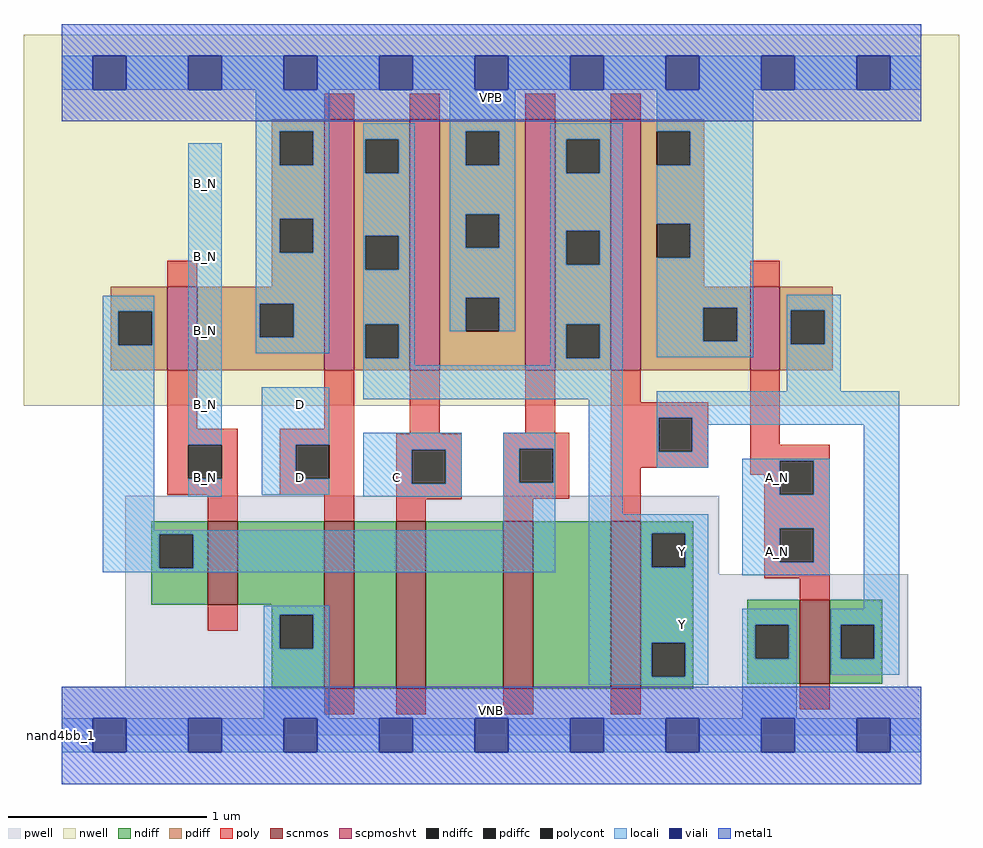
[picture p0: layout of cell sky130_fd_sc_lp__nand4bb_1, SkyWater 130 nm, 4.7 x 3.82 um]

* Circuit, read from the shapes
.subckt sky130_fd_sc_lp__nand4bb_1 A_N B_N C D VGND VNB VPB VPWR Y
XM1 VGND B_N n1 VNB sky130_fd_pr__nfet_01v8 w=0.42 l=0.15
XM2 n2 D VGND VNB sky130_fd_pr__nfet_01v8 w=0.84 l=0.15
XM3 n3 C n2 VNB sky130_fd_pr__nfet_01v8 w=0.84 l=0.15
XM4 n4 n1 n3 VNB sky130_fd_pr__nfet_01v8 w=0.84 l=0.15
XM5 Y n5 n4 VNB sky130_fd_pr__nfet_01v8 w=0.84 l=0.15
XM6 n5 A_N VGND VNB sky130_fd_pr__nfet_01v8 w=0.42 l=0.15
XM7 VPWR B_N n1 VPB sky130_fd_pr__pfet_01v8_hvt w=0.42 l=0.15
XM8 Y D VPWR VPB sky130_fd_pr__pfet_01v8_hvt w=1.26 l=0.15
XM9 VPWR C Y VPB sky130_fd_pr__pfet_01v8_hvt w=1.26 l=0.15
XM10 Y n1 VPWR VPB sky130_fd_pr__pfet_01v8_hvt w=1.26 l=0.15
XM11 VPWR n5 Y VPB sky130_fd_pr__pfet_01v8_hvt w=1.26 l=0.15
XM12 n5 A_N VPWR VPB sky130_fd_pr__pfet_01v8_hvt w=0.42 l=0.15
.ends

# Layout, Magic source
magic
tech sky130A
magscale 1 2
<< nwell >>
rect -38 331 902 704
<< pwell >>
rect 64 162 661 241
rect 64 49 851 162
rect 0 0 864 49
<< scnmos >>
rect 147 131 177 215
rect 264 47 294 215
rect 336 47 366 215
rect 444 47 474 215
rect 552 47 582 215
rect 742 52 772 136
<< scpmoshvt >>
rect 106 367 136 451
rect 264 367 294 619
rect 350 367 380 619
rect 466 367 496 619
rect 552 367 582 619
rect 692 367 722 451
<< ndiff >>
rect 90 202 147 215
rect 90 168 98 202
rect 132 168 147 202
rect 90 131 147 168
rect 177 131 264 215
rect 211 121 264 131
rect 211 87 219 121
rect 253 87 264 121
rect 211 47 264 87
rect 294 47 336 215
rect 366 47 444 215
rect 474 47 552 215
rect 582 203 635 215
rect 582 169 593 203
rect 627 169 635 203
rect 582 93 635 169
rect 582 59 593 93
rect 627 59 635 93
rect 582 47 635 59
rect 689 111 742 136
rect 689 77 697 111
rect 731 77 742 111
rect 689 52 742 77
rect 772 111 825 136
rect 772 77 783 111
rect 817 77 825 111
rect 772 52 825 77
<< pdiff >>
rect 211 607 264 619
rect 211 573 219 607
rect 253 573 264 607
rect 211 519 264 573
rect 211 485 219 519
rect 253 485 264 519
rect 211 451 264 485
rect 49 426 106 451
rect 49 392 57 426
rect 91 392 106 426
rect 49 367 106 392
rect 136 434 264 451
rect 136 400 199 434
rect 233 400 264 434
rect 136 367 264 400
rect 294 599 350 619
rect 294 565 305 599
rect 339 565 350 599
rect 294 502 350 565
rect 294 468 305 502
rect 339 468 350 502
rect 294 413 350 468
rect 294 379 305 413
rect 339 379 350 413
rect 294 367 350 379
rect 380 607 466 619
rect 380 573 406 607
rect 440 573 466 607
rect 380 524 466 573
rect 380 490 406 524
rect 440 490 466 524
rect 380 440 466 490
rect 380 406 406 440
rect 440 406 466 440
rect 380 367 466 406
rect 496 599 552 619
rect 496 565 507 599
rect 541 565 552 599
rect 496 507 552 565
rect 496 473 507 507
rect 541 473 552 507
rect 496 413 552 473
rect 496 379 507 413
rect 541 379 552 413
rect 496 367 552 379
rect 582 607 646 619
rect 582 573 598 607
rect 632 573 646 607
rect 582 514 646 573
rect 582 480 598 514
rect 632 480 646 514
rect 582 451 646 480
rect 582 430 692 451
rect 582 396 645 430
rect 679 396 692 430
rect 582 367 692 396
rect 722 427 775 451
rect 722 393 733 427
rect 767 393 775 427
rect 722 367 775 393
<< ndiffc >>
rect 98 168 132 202
rect 219 87 253 121
rect 593 169 627 203
rect 593 59 627 93
rect 697 77 731 111
rect 783 77 817 111
<< pdiffc >>
rect 219 573 253 607
rect 219 485 253 519
rect 57 392 91 426
rect 199 400 233 434
rect 305 565 339 599
rect 305 468 339 502
rect 305 379 339 413
rect 406 573 440 607
rect 406 490 440 524
rect 406 406 440 440
rect 507 565 541 599
rect 507 473 541 507
rect 507 379 541 413
rect 598 573 632 607
rect 598 480 632 514
rect 645 396 679 430
rect 733 393 767 427
<< poly >>
rect 264 619 294 645
rect 350 619 380 645
rect 466 619 496 645
rect 552 619 582 645
rect 106 451 136 477
rect 692 451 722 477
rect 106 308 136 367
rect 264 308 294 367
rect 106 292 177 308
rect 106 258 127 292
rect 161 258 177 292
rect 106 242 177 258
rect 219 292 294 308
rect 350 303 380 367
rect 466 304 496 367
rect 552 335 582 367
rect 552 319 650 335
rect 219 258 235 292
rect 269 258 294 292
rect 219 242 294 258
rect 147 215 177 242
rect 264 215 294 242
rect 336 287 402 303
rect 336 253 352 287
rect 386 253 402 287
rect 336 237 402 253
rect 444 288 510 304
rect 444 254 460 288
rect 494 254 510 288
rect 444 238 510 254
rect 552 285 600 319
rect 634 285 650 319
rect 552 269 650 285
rect 692 292 722 367
rect 692 276 772 292
rect 336 215 366 237
rect 444 215 474 238
rect 552 215 582 269
rect 692 262 722 276
rect 706 242 722 262
rect 756 242 772 276
rect 147 105 177 131
rect 706 208 772 242
rect 706 174 722 208
rect 756 174 772 208
rect 706 158 772 174
rect 742 136 772 158
rect 264 21 294 47
rect 336 21 366 47
rect 444 21 474 47
rect 552 21 582 47
rect 742 26 772 52
<< polycont >>
rect 127 258 161 292
rect 235 258 269 292
rect 352 253 386 287
rect 460 254 494 288
rect 600 285 634 319
rect 722 242 756 276
rect 722 174 756 208
<< locali >>
rect 0 649 31 683
rect 65 649 127 683
rect 161 649 223 683
rect 257 649 319 683
rect 353 649 415 683
rect 449 649 511 683
rect 545 649 607 683
rect 641 649 703 683
rect 737 649 799 683
rect 833 649 864 683
rect 195 607 269 649
rect 41 426 93 442
rect 41 392 57 426
rect 91 392 93 426
rect 41 206 93 392
rect 127 292 161 595
rect 195 573 219 607
rect 253 573 269 607
rect 195 519 269 573
rect 195 485 219 519
rect 253 485 269 519
rect 195 434 269 485
rect 195 400 199 434
rect 233 400 269 434
rect 195 384 269 400
rect 303 599 355 615
rect 303 565 305 599
rect 339 565 355 599
rect 303 502 355 565
rect 303 468 305 502
rect 339 468 355 502
rect 303 413 355 468
rect 303 379 305 413
rect 339 379 355 413
rect 390 607 456 649
rect 390 573 406 607
rect 440 573 456 607
rect 390 524 456 573
rect 390 490 406 524
rect 440 490 456 524
rect 390 440 456 490
rect 390 406 406 440
rect 440 406 456 440
rect 491 599 564 615
rect 491 565 507 599
rect 541 565 564 599
rect 491 507 564 565
rect 491 473 507 507
rect 541 473 564 507
rect 491 413 564 473
rect 303 372 355 379
rect 491 379 507 413
rect 541 379 564 413
rect 598 607 695 649
rect 632 573 695 607
rect 598 514 695 573
rect 632 480 695 514
rect 598 430 695 480
rect 598 396 645 430
rect 679 396 695 430
rect 598 380 695 396
rect 729 427 783 443
rect 729 393 733 427
rect 767 393 783 427
rect 491 372 564 379
rect 127 240 161 258
rect 201 292 269 350
rect 303 338 564 372
rect 729 346 783 393
rect 201 258 235 292
rect 201 242 269 258
rect 303 287 402 304
rect 303 253 352 287
rect 386 253 402 287
rect 303 240 402 253
rect 444 288 496 304
rect 444 254 460 288
rect 494 254 496 288
rect 444 206 496 254
rect 41 202 496 206
rect 41 168 98 202
rect 132 168 496 202
rect 41 164 496 168
rect 530 222 564 338
rect 598 319 842 346
rect 598 285 600 319
rect 634 312 842 319
rect 634 285 650 312
rect 598 269 650 285
rect 684 276 772 278
rect 684 242 722 276
rect 756 242 772 276
rect 530 203 650 222
rect 530 169 593 203
rect 627 169 650 203
rect 203 121 269 130
rect 203 87 219 121
rect 253 87 269 121
rect 203 17 269 87
rect 530 93 650 169
rect 684 208 772 242
rect 684 174 722 208
rect 756 174 772 208
rect 684 161 772 174
rect 806 127 842 312
rect 530 59 593 93
rect 627 59 650 93
rect 530 51 650 59
rect 684 111 739 127
rect 684 77 697 111
rect 731 77 739 111
rect 684 17 739 77
rect 773 111 842 127
rect 773 77 783 111
rect 817 77 842 111
rect 773 61 842 77
rect 0 -17 31 17
rect 65 -17 127 17
rect 161 -17 223 17
rect 257 -17 319 17
rect 353 -17 415 17
rect 449 -17 511 17
rect 545 -17 607 17
rect 641 -17 703 17
rect 737 -17 799 17
rect 833 -17 864 17
<< viali >>
rect 31 649 65 683
rect 127 649 161 683
rect 223 649 257 683
rect 319 649 353 683
rect 415 649 449 683
rect 511 649 545 683
rect 607 649 641 683
rect 703 649 737 683
rect 799 649 833 683
rect 31 -17 65 17
rect 127 -17 161 17
rect 223 -17 257 17
rect 319 -17 353 17
rect 415 -17 449 17
rect 511 -17 545 17
rect 607 -17 641 17
rect 703 -17 737 17
rect 799 -17 833 17
<< metal1 >>
rect 0 683 864 715
rect 0 649 31 683
rect 65 649 127 683
rect 161 649 223 683
rect 257 649 319 683
rect 353 649 415 683
rect 449 649 511 683
rect 545 649 607 683
rect 641 649 703 683
rect 737 649 799 683
rect 833 649 864 683
rect 0 617 864 649
rect 0 17 864 49
rect 0 -17 31 17
rect 65 -17 127 17
rect 161 -17 223 17
rect 257 -17 319 17
rect 353 -17 415 17
rect 449 -17 511 17
rect 545 -17 607 17
rect 641 -17 703 17
rect 737 -17 799 17
rect 833 -17 864 17
rect 0 -49 864 -17
<< labels >>
flabel pwell s 0 0 864 49 0 FreeSans 200 0 0 0 VNB
port 6 nsew ground bidirectional
flabel nwell s 0 617 864 666 0 FreeSans 200 0 0 0 VPB
port 7 nsew power bidirectional
rlabel comment s 0 0 0 0 4 nand4bb_1
flabel metal1 s 0 617 864 666 0 FreeSans 340 0 0 0 VPWR
port 8 nsew power bidirectional
flabel metal1 s 0 0 864 49 0 FreeSans 340 0 0 0 VGND
port 5 nsew ground bidirectional
flabel locali s 319 242 353 276 0 FreeSans 340 0 0 0 C
port 3 nsew signal input
flabel locali s 223 242 257 276 0 FreeSans 340 0 0 0 D
port 4 nsew signal input
flabel locali s 223 316 257 350 0 FreeSans 340 0 0 0 D
port 4 nsew signal input
flabel locali s 703 168 737 202 0 FreeSans 340 0 0 0 A_N
port 1 nsew signal input
flabel locali s 703 242 737 276 0 FreeSans 340 0 0 0 A_N
port 1 nsew signal input
flabel locali s 127 242 161 276 0 FreeSans 340 0 0 0 B_N
port 2 nsew signal input
flabel locali s 127 316 161 350 0 FreeSans 340 0 0 0 B_N
port 2 nsew signal input
flabel locali s 127 390 161 424 0 FreeSans 340 0 0 0 B_N
port 2 nsew signal input
flabel locali s 127 464 161 498 0 FreeSans 340 0 0 0 B_N
port 2 nsew signal input
flabel locali s 127 538 161 572 0 FreeSans 340 0 0 0 B_N
port 2 nsew signal input
flabel locali s 607 94 641 128 0 FreeSans 340 0 0 0 Y
port 9 nsew signal output
flabel locali s 607 168 641 202 0 FreeSans 340 0 0 0 Y
port 9 nsew signal output
<< properties >>
string LEFsite unit
string LEFclass CORE
string FIXED_BBOX 0 0 864 666
string GDS_FILE $PDKPATH/libs.ref/sky130_fd_sc_lp/gds/sky130_fd_sc_lp.gds
string LEFsymmetry X Y R90
string GDS_END 5682852
string GDS_START 5675166
<< end >>
